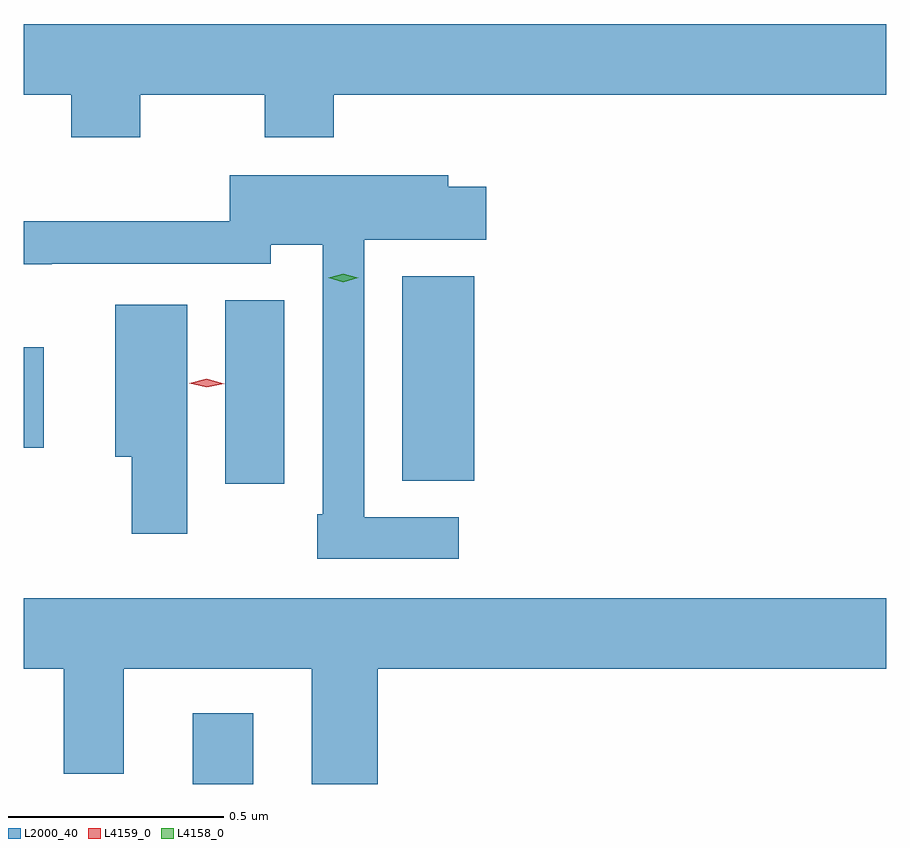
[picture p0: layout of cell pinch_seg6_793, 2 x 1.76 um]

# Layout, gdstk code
import gdstk
lib = gdstk.Library(unit=1e-6, precision=1e-09)
def R(c, l, rs):  # rectangles x0, y0, x1, y1
    for r in rs: c.add(gdstk.rectangle(r[:2], r[2:], *l))
def P(c, l, *ps):  # polygons
    for p in ps: c.add(gdstk.Polygon(p, *l))
L2000_40 = (2000, 40)
L4158_0 = (4158, 0)
L4159_0 = (4159, 0)

pinch_seg6_793 = lib.new_cell('pinch_seg6_793')
R(pinch_seg6_793, L2000_40, [(251.411,993.689,251.551,993.853), (251.486,994.386,251.623,994.811), (251.897,994.393,252.064,994.867), (251.019,994.469,251.065,994.702)])
P(pinch_seg6_793, L2000_40, [(251.289,995.288),(251.578,995.288),(251.578,995.189),(251.738,995.189),(251.738,995.288),(253.019,995.288),(253.019,995.452),(251.019,995.452),(251.019,995.288),(251.129,995.288),(251.129,995.189),(251.289,995.189)],
  [(252.028,994.308),(251.808,994.308),(251.808,994.952),(252.091,994.952),(252.091,995.074),(252.003,995.074),(252.003,995.101),(251.496,995.101),(251.496,994.994),(251.019,994.994),(251.019,994.895),(251.083,994.895),(251.083,994.896),(251.592,994.896),(251.592,994.94),(251.712,994.94),(251.712,994.315),(251.7,994.315),(251.7,994.212),(252.028,994.212)],
  [(251.398,994.801),(251.231,994.801),(251.231,994.448),(251.269,994.448),(251.269,994.269),(251.398,994.269)],
  [(251.84,993.956),(253.019,993.956),(253.019,994.12),(251.019,994.12),(251.019,993.956),(251.111,993.956),(251.111,993.713),(251.251,993.713),(251.251,993.956),(251.687,993.956),(251.687,993.689),(251.84,993.689)])
P(pinch_seg6_793, L4158_0, [(251.76,994.853),(251.725,994.863),(251.725,994.863),(251.725,994.863),(251.76,994.873),(251.795,994.863),(251.795,994.863),(251.795,994.863)])
P(pinch_seg6_793, L4159_0, [(251.443,994.609),(251.402,994.619),(251.402,994.619),(251.402,994.619),(251.443,994.629),(251.484,994.618),(251.484,994.618),(251.484,994.618)])

lib.write_gds('pinch_seg6_793.gds')
